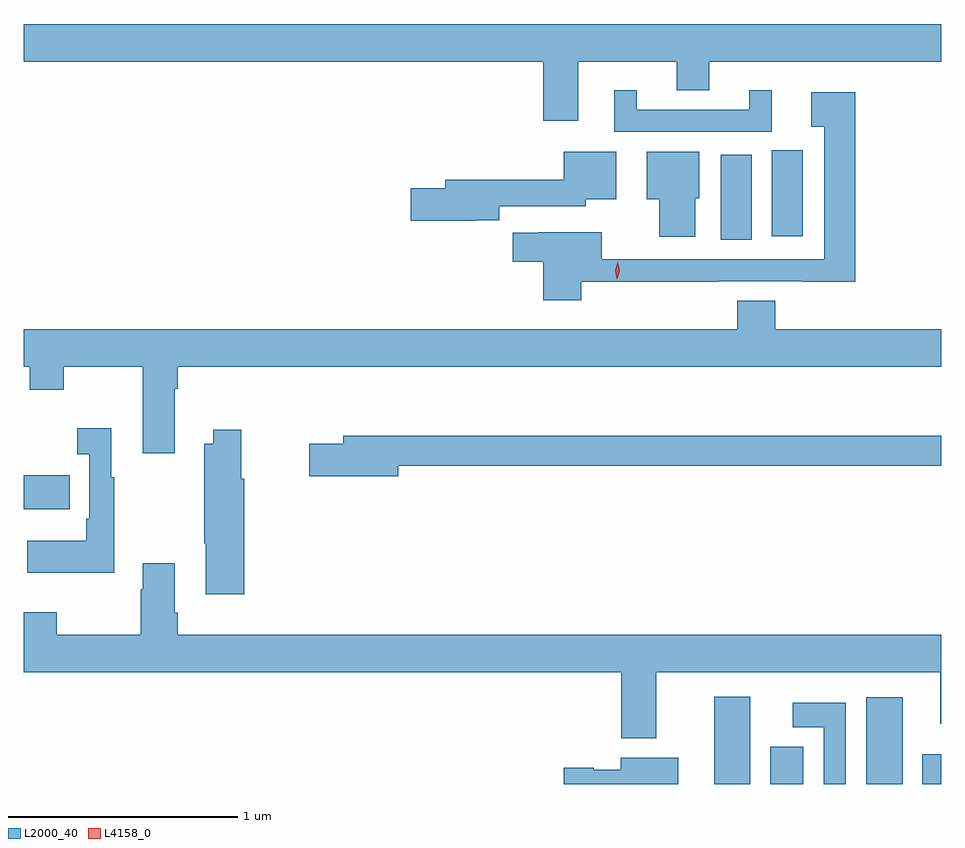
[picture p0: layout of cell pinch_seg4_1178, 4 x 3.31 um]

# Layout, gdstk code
import gdstk
lib = gdstk.Library(unit=1e-6, precision=1e-09)
def R(c, l, rs):  # rectangles x0, y0, x1, y1
    for r in rs: c.add(gdstk.rectangle(r[:2], r[2:], *l))
def P(c, l, *ps):  # polygons
    for p in ps: c.add(gdstk.Polygon(p, *l))
L2000_40 = (2000, 40)
L4158_0 = (4158, 0)

pinch_seg4_1178 = lib.new_cell('pinch_seg4_1178')
R(pinch_seg4_1178, L2000_40, [(593.12,776.353,593.278,776.734), (593.366,776.353,593.509,776.515), (593.783,776.353,593.944,776.731), (594.029,776.353,594.11,776.482), (590.11,777.551,590.309,777.699), (593.15,778.726,593.284,779.098), (593.372,778.743,593.506,779.118)])
P(pinch_seg4_1178, L2000_40, [(592.528,779.504),(592.958,779.504),(592.958,779.38),(593.098,779.38),(593.098,779.504),(594.11,779.504),(594.11,779.668),(590.11,779.668),(590.11,779.504),(592.376,779.504),(592.376,779.247),(592.528,779.247)],
  [(593.371,779.38),(593.273,779.38),(593.273,779.295),(592.783,779.295),(592.783,779.38),(592.685,779.38),(592.685,779.199),(593.371,779.199)],
  [(592.541,778.544),(593.138,778.544),(593.138,778.545),(593.504,778.545),(593.504,778.544),(593.735,778.544),(593.735,779.371),(593.544,779.371),(593.544,779.219),(593.6,779.219),(593.6,778.641),(592.63,778.641),(592.63,778.759),(592.354,778.759),(592.354,778.757),(592.243,778.757),(592.243,778.63),(592.376,778.63),(592.376,778.464),(592.541,778.464)],
  [(592.082,778.812),(592.184,778.812),(592.184,778.872),(592.56,778.872),(592.56,778.904),(592.693,778.904),(592.693,779.11),(592.464,779.11),(592.464,778.988),(591.947,778.988),(591.947,778.952),(591.798,778.952),(591.798,778.81),(592.082,778.81)],
  [(593.038,778.908),(593.056,778.908),(593.056,779.11),(592.826,779.11),(592.826,778.904),(592.88,778.904),(592.88,778.74),(593.038,778.74)],
  [(590.767,778.076),(590.78,778.076),(590.78,778.172),(594.11,778.172),(594.11,778.336),(593.387,778.336),(593.387,778.46),(593.222,778.46),(593.222,778.336),(590.11,778.336),(590.11,778.172),(590.135,778.172),(590.135,778.073),(590.283,778.073),(590.283,778.172),(590.627,778.172),(590.627,777.795),(590.767,777.795)],
  [(590.503,777.691),(590.491,777.691),(590.491,777.904),(590.343,777.904),(590.343,777.791),(590.394,777.791),(590.394,777.511),(590.382,777.511),(590.382,777.415),(590.125,777.415),(590.125,777.275),(590.503,777.275)],
  [(591.071,777.685),(591.058,777.685),(591.058,777.898),(590.936,777.898),(590.936,777.838),(590.896,777.838),(590.896,777.403),(590.903,777.403),(590.903,777.18),(591.071,777.18)],
  [(591.742,777.742),(594.11,777.742),(594.11,777.871),(591.503,777.871),(591.503,777.837),(591.354,777.837),(591.354,777.695),(591.742,777.695)],
  [(592.867,776.84),(594.107,776.84),(594.107,776.616),(594.11,776.616),(594.11,777.004),(590.78,777.004),(590.78,777.1),(590.767,777.1),(590.767,777.316),(590.627,777.316),(590.627,777.203),(590.62,777.203),(590.62,777.004),(590.253,777.004),(590.253,777.103),(590.11,777.103),(590.11,776.84),(592.715,776.84),(592.715,776.552),(592.867,776.552)],
  [(593.694,776.707),(593.463,776.707),(593.463,776.6),(593.598,776.6),(593.598,776.353),(593.694,776.353)],
  [(592.963,776.467),(592.712,776.467),(592.712,776.416),(592.596,776.416),(592.596,776.424),(592.464,776.424),(592.464,776.353),(592.963,776.353)])
P(pinch_seg4_1178, L4158_0, [(592.696,778.556),(592.688,778.593),(592.699,778.628),(592.7,778.628),(592.7,778.628),(592.708,778.592),(592.697,778.556),(592.697,778.556)])

lib.write_gds('pinch_seg4_1178.gds')
